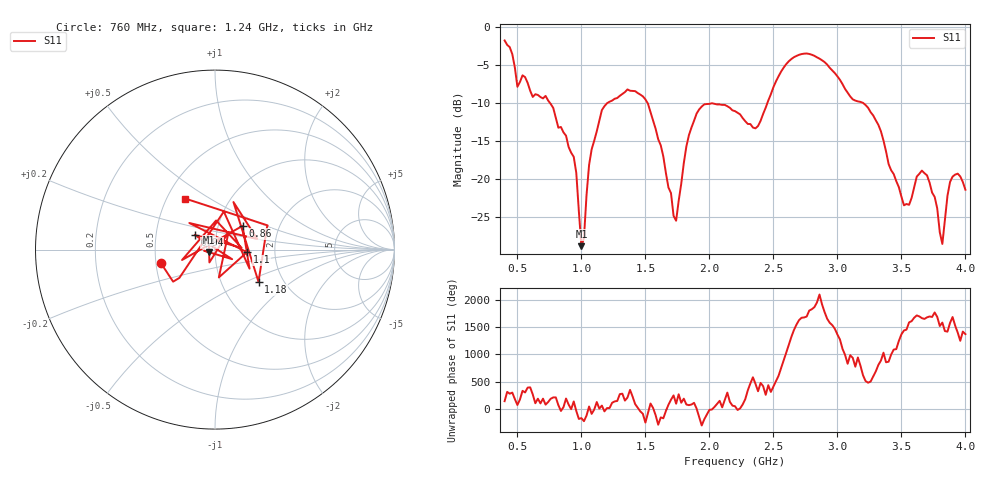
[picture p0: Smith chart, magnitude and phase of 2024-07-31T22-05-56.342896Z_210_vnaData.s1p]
!Created with skrf (http://scikit-rf.org).
# Hz S RI R 50.0
!freq ReS11 ImS11
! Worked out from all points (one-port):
!   181 points, 400 MHz to 4 GHz, reference 50 ohm
!   lowest |S11| = -28.9 dB at 1 GHz (marker M1), VSWR 1.07, Z = 46.7 - j1.18 ohm
!   |S11| at or under -10 dB: 754.9 MHz to 1.203 GHz (447.6 MHz wide, 45.7 % of centre); 1.517 GHz to 2.453 GHz (935.8 MHz wide, 47.1 % of centre); 3.202 GHz to end of sweep
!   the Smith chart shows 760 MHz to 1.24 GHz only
!   S11 on the Smith chart (normalised r, x): 760 MHz: 0.53, -0.08; 860 MHz: 1.31, +0.36; 940 MHz: 0.79, +0.13; 1.1 GHz: 1.43, -0.04; 1.18 GHz: 1.50, -0.59; 1.24 GHz: 0.62, +0.40
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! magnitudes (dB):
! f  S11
! 400 MHz  -1.7
! 500 MHz  -7.8
! 760 MHz  -10.1
! 860 MHz  -13.9
! 940 MHz  -17.1
! 1 GHz  -28.9
! 1.02 GHz  -27.8
! 1.06 GHz  -18.2
! 1.1 GHz  -15.0
! 1.18 GHz  -10.4
! 1.24 GHz  -9.7
! 1.3 GHz  -9.0
! 1.52 GHz  -10.1
! 1.72 GHz  -24.9
! 1.76 GHz  -22.9
! 1.82 GHz  -15.7
! 1.92 GHz  -10.8
! 2.2 GHz  -11.1
! 2.38 GHz  -13.0
! 2.66 GHz  -4.0
! 2.88 GHz  -4.4
! 3.1 GHz  -9.1
! 3.32 GHz  -12.9
! 3.56 GHz  -23.4
! 3.7 GHz  -19.5
! 3.82 GHz  -28.6
! 3.88 GHz  -20.4
! 4 GHz  -21.4
